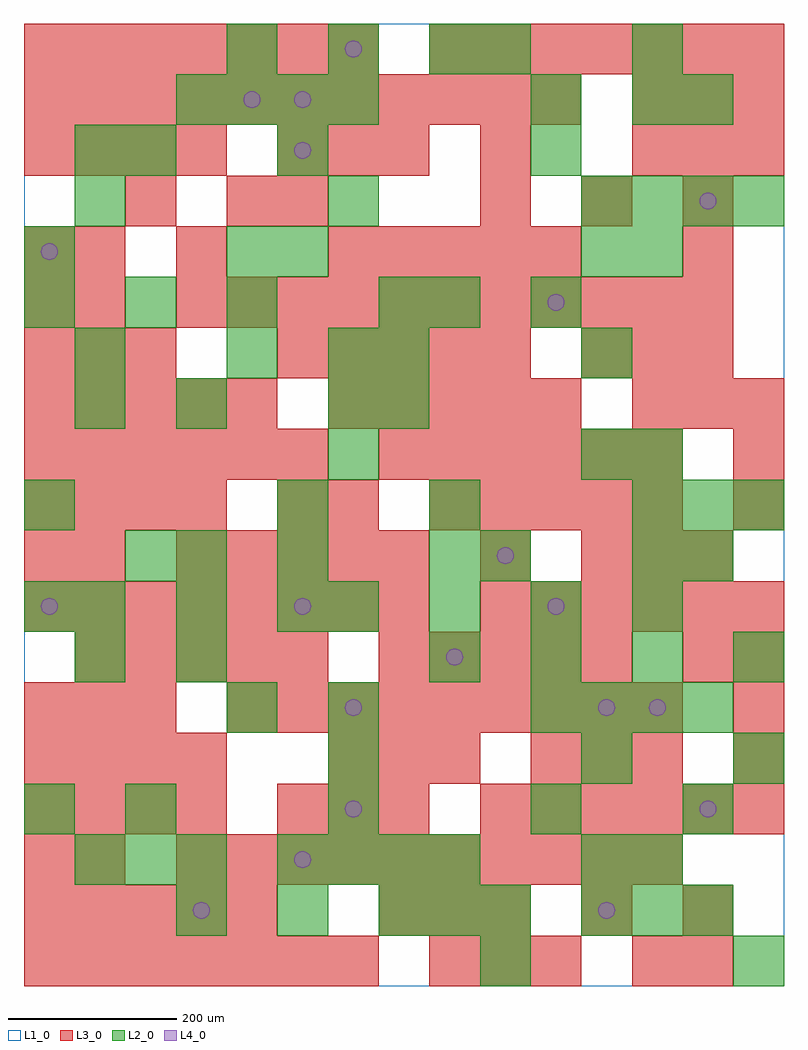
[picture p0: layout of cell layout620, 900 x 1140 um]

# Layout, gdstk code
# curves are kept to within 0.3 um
import gdstk
lib = gdstk.Library(unit=1e-6, precision=1e-09)
def R(c, l, rs):  # rectangles x0, y0, x1, y1
    for r in rs: c.add(gdstk.rectangle(r[:2], r[2:], *l))
def A(c, l, x, y, w, h, nx, ny, dx, dy):  # array of equal rectangles
    R(c, l, [(x+i*dx, y+j*dy, x+i*dx+w, y+j*dy+h) for i in range(nx) for j in range(ny)])
def P(c, l, *ps):  # polygons
    for p in ps: c.add(gdstk.Polygon(p, *l))
L1_0 = (1, 0)
L2_0 = (2, 0)
L3_0 = (3, 0)
L4_0 = (4, 0)

layout620 = lib.new_cell('layout620')
R(layout620, L1_0, [(0,0,900,1140)])
A(layout620, L2_0, 180, 60, 60, 60, 3, 1, 120, 0)
A(layout620, L2_0, 660, 60, 60, 60, 3, 1, 60, 0)
A(layout620, L2_0, 60, 120, 60, 60, 3, 1, 60, 0)
A(layout620, L2_0, 300, 120, 60, 60, 4, 1, 60, 0)
A(layout620, L2_0, 120, 180, 60, 60, 3, 1, 240, 0)
A(layout620, L2_0, 600, 300, 60, 60, 4, 1, 60, 0)
A(layout620, L2_0, 480, 360, 60, 60, 4, 1, 120, 0)
A(layout620, L2_0, 60, 420, 60, 60, 3, 1, 120, 0)
A(layout620, L2_0, 360, 420, 60, 60, 4, 1, 120, 0)
A(layout620, L2_0, 720, 540, 60, 60, 3, 2, 60, 360)
A(layout620, L2_0, 360, 600, 60, 60, 1, 3, 0, 60)
A(layout620, L2_0, 660, 600, 60, 60, 1, 3, 0, 120)
A(layout620, L2_0, 420, 660, 60, 60, 1, 3, 0, 60)
A(layout620, L2_0, 0, 780, 60, 60, 3, 1, 120, 0)
A(layout620, L2_0, 60, 900, 60, 60, 3, 1, 300, 0)
A(layout620, L2_0, 180, 1020, 60, 60, 4, 1, 60, 0)
A(layout620, L2_0, 240, 1080, 60, 60, 3, 1, 120, 0)
R(layout620, L2_0, [(540,0,600,60), (840,0,900,60), (480,60,540,120), (540,60,600,120), (660,120,720,180), (720,120,780,180), (0,180,60,240), (780,180,840,240), (360,240,420,300), (660,240,720,300), (840,240,900,300), (240,300,300,360), (360,300,420,360), (60,360,120,420), (180,360,240,420), (0,420,60,480), (120,480,180,540), (180,480,240,540), (300,480,360,540), (480,480,540,540), (540,480,600,540), (720,480,780,540), (780,480,840,540), (0,540,60,600), (300,540,360,600), (480,540,540,600), (720,600,780,660), (60,660,120,720), (180,660,240,720), (60,720,120,780), (240,720,300,780), (480,780,540,840), (600,780,660,840), (0,840,60,900), (240,840,300,900), (300,840,360,900), (720,840,780,900), (60,960,120,1020), (120,960,180,1020), (300,960,360,1020), (600,960,660,1020), (600,1020,660,1080), (720,1020,780,1080), (780,1020,840,1080), (540,1080,600,1140), (720,1080,780,1140)])
A(layout620, L3_0, 0, 0, 60, 60, 7, 2, 60, 1080)
A(layout620, L3_0, 480, 0, 60, 60, 3, 1, 60, 0)
A(layout620, L3_0, 0, 60, 60, 60, 5, 2, 60, 600)
A(layout620, L3_0, 420, 60, 60, 60, 3, 1, 60, 0)
A(layout620, L3_0, 180, 120, 60, 60, 10, 1, 60, 0)
A(layout620, L3_0, 0, 180, 60, 60, 4, 2, 60, 60)
A(layout620, L3_0, 300, 180, 60, 60, 3, 2, 60, 780)
A(layout620, L3_0, 540, 180, 60, 60, 6, 2, 60, 240)
A(layout620, L3_0, 360, 240, 60, 60, 3, 1, 60, 0)
A(layout620, L3_0, 600, 240, 60, 60, 3, 1, 60, 0)
A(layout620, L3_0, 840, 240, 60, 60, 1, 3, 0, 60)
A(layout620, L3_0, 0, 300, 60, 60, 3, 2, 60, 420)
A(layout620, L3_0, 240, 300, 60, 60, 9, 1, 60, 0)
A(layout620, L3_0, 60, 360, 60, 60, 5, 1, 60, 0)
A(layout620, L3_0, 420, 360, 60, 60, 5, 1, 60, 0)
A(layout620, L3_0, 0, 420, 60, 60, 8, 1, 60, 0)
A(layout620, L3_0, 180, 480, 60, 60, 5, 1, 60, 0)
A(layout620, L3_0, 660, 480, 60, 60, 3, 2, 60, 240)
A(layout620, L3_0, 0, 540, 60, 60, 4, 2, 60, 420)
A(layout620, L3_0, 480, 540, 60, 60, 5, 1, 60, 0)
A(layout620, L3_0, 0, 600, 60, 60, 6, 1, 60, 0)
A(layout620, L3_0, 420, 600, 60, 60, 6, 1, 60, 0)
A(layout620, L3_0, 360, 660, 60, 60, 5, 2, 60, 180)
A(layout620, L3_0, 720, 660, 60, 60, 3, 2, 60, 300)
A(layout620, L3_0, 300, 720, 60, 60, 5, 1, 60, 0)
A(layout620, L3_0, 180, 780, 60, 60, 11, 1, 60, 0)
A(layout620, L3_0, 540, 900, 60, 60, 3, 1, 120, 0)
A(layout620, L3_0, 0, 1020, 60, 60, 11, 1, 60, 0)
A(layout620, L3_0, 720, 1020, 60, 60, 3, 1, 60, 0)
A(layout620, L3_0, 480, 1080, 60, 60, 7, 1, 60, 0)
R(layout620, L3_0, [(720,0,780,60), (780,0,840,60), (660,60,720,120), (780,60,840,120), (0,120,60,180), (60,120,120,180), (780,360,840,420), (0,480,60,540), (60,480,120,540), (540,480,600,540), (300,540,360,600), (360,540,420,600), (840,540,900,600), (840,600,900,660), (0,780,60,840), (60,780,120,840), (0,840,60,900), (60,840,120,900), (180,840,240,900), (780,840,840,900), (120,900,180,960), (240,900,300,960), (300,900,360,960), (540,960,600,1020)])
P(layout620, L4_0, [(40,450),(39.239,453.827),(37.071,457.071),(33.827,459.239),(30,460),(26.173,459.239),(22.929,457.071),(20.761,453.827),(20,450),(20.761,446.173),(22.929,442.929),(26.173,440.761),(30,440),(33.827,440.761),(37.071,442.929),(39.239,446.173)],
  [(40,870),(39.239,873.827),(37.071,877.071),(33.827,879.239),(30,880),(26.173,879.239),(22.929,877.071),(20.761,873.827),(20,870),(20.761,866.173),(22.929,862.929),(26.173,860.761),(30,860),(33.827,860.761),(37.071,862.929),(39.239,866.173)],
  [(220,90),(219.239,93.827),(217.071,97.071),(213.827,99.239),(210,100),(206.173,99.239),(202.929,97.071),(200.761,93.827),(200,90),(200.761,86.173),(202.929,82.929),(206.173,80.761),(210,80),(213.827,80.761),(217.071,82.929),(219.239,86.173)],
  [(280,1050),(279.239,1053.827),(277.071,1057.071),(273.827,1059.239),(270,1060),(266.173,1059.239),(262.929,1057.071),(260.761,1053.827),(260,1050),(260.761,1046.173),(262.929,1042.929),(266.173,1040.761),(270,1040),(273.827,1040.761),(277.071,1042.929),(279.239,1046.173)],
  [(340,150),(339.239,153.827),(337.071,157.071),(333.827,159.239),(330,160),(326.173,159.239),(322.929,157.071),(320.761,153.827),(320,150),(320.761,146.173),(322.929,142.929),(326.173,140.761),(330,140),(333.827,140.761),(337.071,142.929),(339.239,146.173)],
  [(340,450),(339.239,453.827),(337.071,457.071),(333.827,459.239),(330,460),(326.173,459.239),(322.929,457.071),(320.761,453.827),(320,450),(320.761,446.173),(322.929,442.929),(326.173,440.761),(330,440),(333.827,440.761),(337.071,442.929),(339.239,446.173)],
  [(340,990),(339.239,993.827),(337.071,997.071),(333.827,999.239),(330,1000),(326.173,999.239),(322.929,997.071),(320.761,993.827),(320,990),(320.761,986.173),(322.929,982.929),(326.173,980.761),(330,980),(333.827,980.761),(337.071,982.929),(339.239,986.173)],
  [(340,1050),(339.239,1053.827),(337.071,1057.071),(333.827,1059.239),(330,1060),(326.173,1059.239),(322.929,1057.071),(320.761,1053.827),(320,1050),(320.761,1046.173),(322.929,1042.929),(326.173,1040.761),(330,1040),(333.827,1040.761),(337.071,1042.929),(339.239,1046.173)],
  [(400,210),(399.239,213.827),(397.071,217.071),(393.827,219.239),(390,220),(386.173,219.239),(382.929,217.071),(380.761,213.827),(380,210),(380.761,206.173),(382.929,202.929),(386.173,200.761),(390,200),(393.827,200.761),(397.071,202.929),(399.239,206.173)],
  [(400,330),(399.239,333.827),(397.071,337.071),(393.827,339.239),(390,340),(386.173,339.239),(382.929,337.071),(380.761,333.827),(380,330),(380.761,326.173),(382.929,322.929),(386.173,320.761),(390,320),(393.827,320.761),(397.071,322.929),(399.239,326.173)],
  [(400,1110),(399.239,1113.827),(397.071,1117.071),(393.827,1119.239),(390,1120),(386.173,1119.239),(382.929,1117.071),(380.761,1113.827),(380,1110),(380.761,1106.173),(382.929,1102.929),(386.173,1100.761),(390,1100),(393.827,1100.761),(397.071,1102.929),(399.239,1106.173)],
  [(520,390),(519.239,393.827),(517.071,397.071),(513.827,399.239),(510,400),(506.173,399.239),(502.929,397.071),(500.761,393.827),(500,390),(500.761,386.173),(502.929,382.929),(506.173,380.761),(510,380),(513.827,380.761),(517.071,382.929),(519.239,386.173)],
  [(580,510),(579.239,513.827),(577.071,517.071),(573.827,519.239),(570,520),(566.173,519.239),(562.929,517.071),(560.761,513.827),(560,510),(560.761,506.173),(562.929,502.929),(566.173,500.761),(570,500),(573.827,500.761),(577.071,502.929),(579.239,506.173)],
  [(640,450),(639.239,453.827),(637.071,457.071),(633.827,459.239),(630,460),(626.173,459.239),(622.929,457.071),(620.761,453.827),(620,450),(620.761,446.173),(622.929,442.929),(626.173,440.761),(630,440),(633.827,440.761),(637.071,442.929),(639.239,446.173)],
  [(640,810),(639.239,813.827),(637.071,817.071),(633.827,819.239),(630,820),(626.173,819.239),(622.929,817.071),(620.761,813.827),(620,810),(620.761,806.173),(622.929,802.929),(626.173,800.761),(630,800),(633.827,800.761),(637.071,802.929),(639.239,806.173)],
  [(700,90),(699.239,93.827),(697.071,97.071),(693.827,99.239),(690,100),(686.173,99.239),(682.929,97.071),(680.761,93.827),(680,90),(680.761,86.173),(682.929,82.929),(686.173,80.761),(690,80),(693.827,80.761),(697.071,82.929),(699.239,86.173)],
  [(700,330),(699.239,333.827),(697.071,337.071),(693.827,339.239),(690,340),(686.173,339.239),(682.929,337.071),(680.761,333.827),(680,330),(680.761,326.173),(682.929,322.929),(686.173,320.761),(690,320),(693.827,320.761),(697.071,322.929),(699.239,326.173)],
  [(760,330),(759.239,333.827),(757.071,337.071),(753.827,339.239),(750,340),(746.173,339.239),(742.929,337.071),(740.761,333.827),(740,330),(740.761,326.173),(742.929,322.929),(746.173,320.761),(750,320),(753.827,320.761),(757.071,322.929),(759.239,326.173)],
  [(820,210),(819.239,213.827),(817.071,217.071),(813.827,219.239),(810,220),(806.173,219.239),(802.929,217.071),(800.761,213.827),(800,210),(800.761,206.173),(802.929,202.929),(806.173,200.761),(810,200),(813.827,200.761),(817.071,202.929),(819.239,206.173)],
  [(820,930),(819.239,933.827),(817.071,937.071),(813.827,939.239),(810,940),(806.173,939.239),(802.929,937.071),(800.761,933.827),(800,930),(800.761,926.173),(802.929,922.929),(806.173,920.761),(810,920),(813.827,920.761),(817.071,922.929),(819.239,926.173)])

lib.write_gds('layout620.gds')
